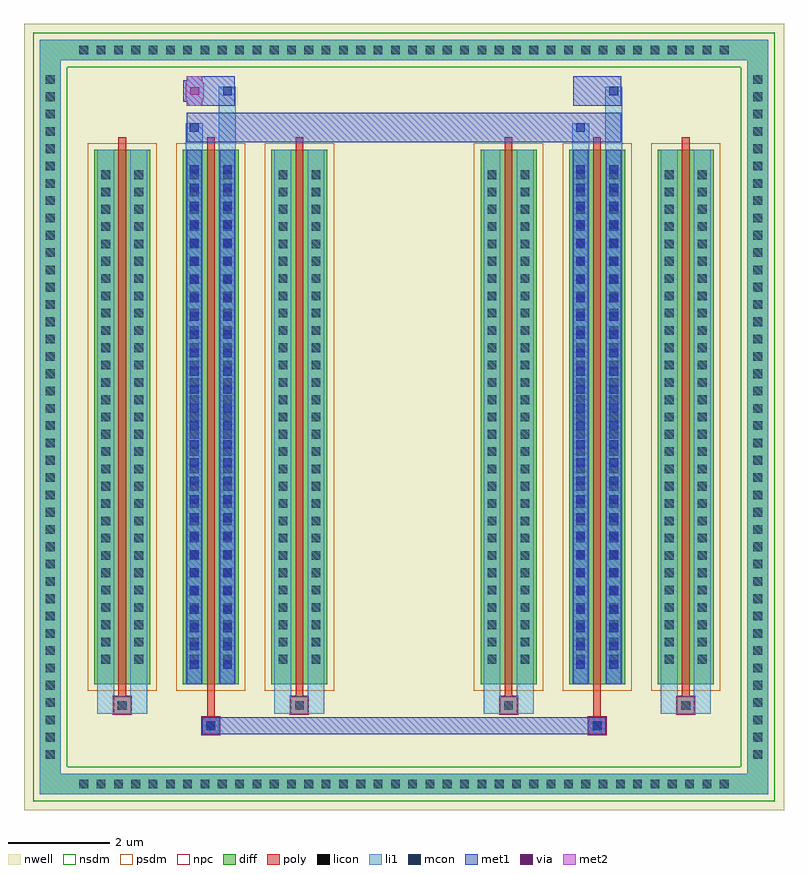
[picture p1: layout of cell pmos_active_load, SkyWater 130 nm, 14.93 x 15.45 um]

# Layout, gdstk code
import gdstk
lib = gdstk.Library(unit=1e-6, precision=5e-09)
def R(c, l, rs):  # rectangles x0, y0, x1, y1
    for r in rs: c.add(gdstk.rectangle(r[:2], r[2:], *l))
def A(c, l, x, y, w, h, nx, ny, dx, dy):  # array of equal rectangles
    R(c, l, [(x+i*dx, y+j*dy, x+i*dx+w, y+j*dy+h) for i in range(nx) for j in range(ny)])
def P(c, l, *ps):  # polygons
    for p in ps: c.add(gdstk.Polygon(p, *l))
nwell = (64, 20)
diff = (65, 20)
poly = (66, 20)
licon = (66, 44)
li1 = (67, 20)
mcon = (67, 44)
met1 = (68, 20)
via = (68, 44)
met2 = (69, 20)
nsdm = (93, 44)
psdm = (94, 20)
npc = (95, 20)

multiplier_b353b9ed = lib.new_cell('multiplier_b353b9ed')
A(multiplier_b353b9ed, diff, -2.29, -5.25, 1.1, 10.5, 3, 1, 1.74, 0)
A(multiplier_b353b9ed, poly, -1.815, -5.5, 0.15, 11, 3, 1, 1.74, 0)
R(multiplier_b353b9ed, poly, [(-0.165,-6.23,0.165,-5.9), (-0.165,-6.23,0.165,-5.9), (-0.075,-5.9,0.075,-5.5), (-1.905,-5.83,-1.575,-5.5), (-1.905,-5.83,-1.575,-5.5), (1.575,-5.83,1.905,-5.5), (1.575,-5.83,1.905,-5.5)])
A(multiplier_b353b9ed, licon, -2.15, -4.845, 0.17, 0.17, 1, 29, 0, 0.34)
A(multiplier_b353b9ed, licon, -1.5, -4.845, 0.17, 0.17, 1, 29, 0, 0.34)
A(multiplier_b353b9ed, licon, -0.41, -4.845, 0.17, 0.17, 1, 29, 0, 0.34)
A(multiplier_b353b9ed, licon, 0.24, -4.845, 0.17, 0.17, 1, 29, 0, 0.34)
A(multiplier_b353b9ed, licon, 1.33, -4.845, 0.17, 0.17, 1, 29, 0, 0.34)
A(multiplier_b353b9ed, licon, 1.98, -4.845, 0.17, 0.17, 1, 29, 0, 0.34)
R(multiplier_b353b9ed, licon, [(-0.085,-6.15,0.085,-5.98), (-1.825,-5.75,-1.655,-5.58), (1.655,-5.75,1.825,-5.58)])
A(multiplier_b353b9ed, li1, -0.41, -4.945, 0.17, 0.17, 1, 28, 0, 0.36)
A(multiplier_b353b9ed, li1, 0.24, -4.945, 0.17, 0.17, 1, 28, 0, 0.36)
A(multiplier_b353b9ed, li1, -2.23, -4.925, 0.33, 0.33, 1, 29, 0, 0.34)
A(multiplier_b353b9ed, li1, -1.58, -4.925, 0.33, 0.33, 1, 29, 0, 0.34)
A(multiplier_b353b9ed, li1, -0.49, -4.925, 0.33, 0.33, 1, 29, 0, 0.34)
A(multiplier_b353b9ed, li1, 0.16, -4.925, 0.33, 0.33, 1, 29, 0, 0.34)
A(multiplier_b353b9ed, li1, 1.25, -4.925, 0.33, 0.33, 1, 29, 0, 0.34)
A(multiplier_b353b9ed, li1, 1.9, -4.925, 0.33, 0.33, 1, 29, 0, 0.34)
R(multiplier_b353b9ed, li1, [(-0.165,-6.23,0.165,-5.9), (-2.23,-5.83,-1.905,-5.5), (-2.23,-5.83,-1.9,-5.25), (-1.905,-5.83,-1.575,-5.5), (-1.58,-5.83,-1.25,-5.25), (-1.575,-5.83,-1.25,-5.5), (1.25,-5.83,1.575,-5.5), (1.25,-5.83,1.58,-5.25), (1.575,-5.83,1.905,-5.5), (1.9,-5.83,2.23,-5.25), (1.905,-5.83,2.23,-5.5), (-2.23,-5.25,-1.9,5.25), (-1.58,-5.25,-1.25,5.25), (-0.49,-5.25,-0.16,5.25), (0.16,-5.25,0.49,5.25), (1.25,-5.25,1.58,5.25), (1.9,-5.25,2.23,5.25), (-0.41,-4.945,-0.24,4.945), (0.24,-4.945,0.41,4.945), (-0.49,5.25,-0.16,5.77), (0.16,5.25,0.49,6.49), (-0.41,5.6,-0.24,5.77), (0.24,6.32,0.41,6.49)])
A(multiplier_b353b9ed, mcon, -0.41, -4.945, 0.17, 0.17, 1, 28, 0, 0.36)
A(multiplier_b353b9ed, mcon, 0.24, -4.945, 0.17, 0.17, 1, 28, 0, 0.36)
R(multiplier_b353b9ed, mcon, [(-0.085,-6.15,0.085,-5.98), (-0.41,5.6,-0.24,5.77), (0.24,6.32,0.41,6.49)])
A(multiplier_b353b9ed, met1, -0.47, -5.005, 0.29, 0.29, 1, 28, 0, 0.36)
A(multiplier_b353b9ed, met1, 0.18, -5.005, 0.29, 0.29, 1, 28, 0, 0.36)
R(multiplier_b353b9ed, met1, [(-0.165,-6.23,0.165,-5.9), (-0.145,-6.21,0.145,-5.92), (-0.47,-5.25,-0.18,5.25), (0.18,-5.25,0.47,5.25), (-0.47,5.395,0.47,5.975), (-0.47,5.54,-0.18,5.83), (-0.47,6.115,0.47,6.695), (0.18,6.26,0.47,6.55)])
A(multiplier_b353b9ed, psdm, -2.42, -5.38, 1.36, 10.76, 3, 1, 1.74, 0)
R(multiplier_b353b9ed, npc, [(-0.185,-6.25,0.185,-5.88), (-1.925,-5.85,-1.555,-5.48), (1.555,-5.85,1.925,-5.48)])

multiplier_b353b9ed_1 = lib.new_cell('multiplier_b353b9ed$1')
A(multiplier_b353b9ed_1, diff, -2.29, -5.25, 1.1, 10.5, 3, 1, 1.74, 0)
A(multiplier_b353b9ed_1, poly, -1.815, -5.5, 0.15, 11, 3, 1, 1.74, 0)
R(multiplier_b353b9ed_1, poly, [(-0.165,-6.23,0.165,-5.9), (-0.165,-6.23,0.165,-5.9), (-0.075,-5.9,0.075,-5.5), (-1.905,-5.83,-1.575,-5.5), (-1.905,-5.83,-1.575,-5.5), (1.575,-5.83,1.905,-5.5), (1.575,-5.83,1.905,-5.5)])
A(multiplier_b353b9ed_1, licon, -2.15, -4.845, 0.17, 0.17, 1, 29, 0, 0.34)
A(multiplier_b353b9ed_1, licon, -1.5, -4.845, 0.17, 0.17, 1, 29, 0, 0.34)
A(multiplier_b353b9ed_1, licon, -0.41, -4.845, 0.17, 0.17, 1, 29, 0, 0.34)
A(multiplier_b353b9ed_1, licon, 0.24, -4.845, 0.17, 0.17, 1, 29, 0, 0.34)
A(multiplier_b353b9ed_1, licon, 1.33, -4.845, 0.17, 0.17, 1, 29, 0, 0.34)
A(multiplier_b353b9ed_1, licon, 1.98, -4.845, 0.17, 0.17, 1, 29, 0, 0.34)
R(multiplier_b353b9ed_1, licon, [(-0.085,-6.15,0.085,-5.98), (-1.825,-5.75,-1.655,-5.58), (1.655,-5.75,1.825,-5.58)])
A(multiplier_b353b9ed_1, li1, -0.41, -4.945, 0.17, 0.17, 1, 28, 0, 0.36)
A(multiplier_b353b9ed_1, li1, 0.24, -4.945, 0.17, 0.17, 1, 28, 0, 0.36)
A(multiplier_b353b9ed_1, li1, -2.23, -4.925, 0.33, 0.33, 1, 29, 0, 0.34)
A(multiplier_b353b9ed_1, li1, -1.58, -4.925, 0.33, 0.33, 1, 29, 0, 0.34)
A(multiplier_b353b9ed_1, li1, -0.49, -4.925, 0.33, 0.33, 1, 29, 0, 0.34)
A(multiplier_b353b9ed_1, li1, 0.16, -4.925, 0.33, 0.33, 1, 29, 0, 0.34)
A(multiplier_b353b9ed_1, li1, 1.25, -4.925, 0.33, 0.33, 1, 29, 0, 0.34)
A(multiplier_b353b9ed_1, li1, 1.9, -4.925, 0.33, 0.33, 1, 29, 0, 0.34)
R(multiplier_b353b9ed_1, li1, [(-0.165,-6.23,0.165,-5.9), (-2.23,-5.83,-1.905,-5.5), (-2.23,-5.83,-1.9,-5.25), (-1.905,-5.83,-1.575,-5.5), (-1.58,-5.83,-1.25,-5.25), (-1.575,-5.83,-1.25,-5.5), (1.25,-5.83,1.575,-5.5), (1.25,-5.83,1.58,-5.25), (1.575,-5.83,1.905,-5.5), (1.9,-5.83,2.23,-5.25), (1.905,-5.83,2.23,-5.5), (-2.23,-5.25,-1.9,5.25), (-1.58,-5.25,-1.25,5.25), (-0.49,-5.25,-0.16,5.25), (0.16,-5.25,0.49,5.25), (1.25,-5.25,1.58,5.25), (1.9,-5.25,2.23,5.25), (-0.41,-4.945,-0.24,4.945), (0.24,-4.945,0.41,4.945), (-0.49,5.25,-0.16,5.77), (0.16,5.25,0.49,6.49), (-0.41,5.6,-0.24,5.77), (0.24,6.32,0.41,6.49)])
A(multiplier_b353b9ed_1, mcon, -0.41, -4.945, 0.17, 0.17, 1, 28, 0, 0.36)
A(multiplier_b353b9ed_1, mcon, 0.24, -4.945, 0.17, 0.17, 1, 28, 0, 0.36)
R(multiplier_b353b9ed_1, mcon, [(-0.085,-6.15,0.085,-5.98), (-0.41,5.6,-0.24,5.77), (0.24,6.32,0.41,6.49)])
A(multiplier_b353b9ed_1, met1, -0.47, -5.005, 0.29, 0.29, 1, 28, 0, 0.36)
A(multiplier_b353b9ed_1, met1, 0.18, -5.005, 0.29, 0.29, 1, 28, 0, 0.36)
R(multiplier_b353b9ed_1, met1, [(-0.165,-6.23,0.165,-5.9), (-0.145,-6.21,0.145,-5.92), (-0.47,-5.25,-0.18,5.25), (0.18,-5.25,0.47,5.25), (-0.47,5.395,0.47,5.975), (-0.47,5.54,-0.18,5.83), (-0.47,6.115,0.47,6.695), (0.18,6.26,0.47,6.55)])
A(multiplier_b353b9ed_1, psdm, -2.42, -5.38, 1.36, 10.76, 3, 1, 1.74, 0)
R(multiplier_b353b9ed_1, npc, [(-0.185,-6.25,0.185,-5.88), (-1.925,-5.85,-1.555,-5.48), (1.555,-5.85,1.925,-5.48)])

straight_route_3f9e4019 = lib.new_cell('straight_route_3f9e4019')
R(straight_route_3f9e4019, met1, [(-3.325,5.395,3.325,5.975)])

straight_route_c25e2fa4 = lib.new_cell('straight_route_c25e2fa4')
R(straight_route_c25e2fa4, met1, [(-3.63,-6.23,3.63,-5.9)])

straight_route_06f4c159 = lib.new_cell('straight_route_06f4c159')
R(straight_route_06f4c159, met1, [(-4.34,6.19,-3.91,6.62), (-4.315,6.19,-3.885,6.62)])
R(straight_route_06f4c159, via, [(-4.2,6.33,-4.05,6.48), (-4.175,6.33,-4.025,6.48)])
R(straight_route_06f4c159, met2, [(-4.265,6.115,-3.96,6.695), (-4.29,6.24,-3.96,6.57), (-4.265,6.24,-3.935,6.57)])

unnamed_2c103f57_1 = lib.new_cell('Unnamed_2c103f57$1')
A(unnamed_2c103f57_1, diff, -6.495, -7.415, 0.41, 0.41, 38, 2, 0.34, 14.42)
A(unnamed_2c103f57_1, diff, -7.155, -6.835, 0.41, 0.41, 1, 40, 0, 0.34)
A(unnamed_2c103f57_1, diff, 6.745, -6.835, 0.41, 0.41, 1, 40, 0, 0.34)
R(unnamed_2c103f57_1, diff, [(-6.495,-7.415,6.495,-7.005), (-7.155,-6.835,-6.745,6.835), (6.745,-6.835,7.155,6.835), (-6.495,7.005,6.495,7.415)])
P(unnamed_2c103f57_1, diff, [(7.155,7.415),(-7.155,7.415),(-7.155,-7.005),(-6.745,-7.005),(-6.745,7.005),(6.745,7.005),(6.745,-7.005),(-6.745,-7.005),(-7.155,-7.005),(-7.155,-7.415),(7.155,-7.415)])
A(unnamed_2c103f57_1, licon, -6.375, -7.295, 0.17, 0.17, 38, 2, 0.34, 14.42)
A(unnamed_2c103f57_1, licon, -7.035, -6.715, 0.17, 0.17, 1, 40, 0, 0.34)
A(unnamed_2c103f57_1, licon, 6.865, -6.715, 0.17, 0.17, 1, 40, 0, 0.34)
A(unnamed_2c103f57_1, li1, -6.455, -7.375, 0.33, 0.33, 38, 2, 0.34, 14.42)
A(unnamed_2c103f57_1, li1, -7.115, -6.795, 0.33, 0.33, 1, 40, 0, 0.34)
A(unnamed_2c103f57_1, li1, 6.785, -6.795, 0.33, 0.33, 1, 40, 0, 0.34)
R(unnamed_2c103f57_1, li1, [(-7.155,-7.415,-6.745,-7.005), (-7.155,-7.415,-6.745,-7.005), (-6.745,-7.415,6.745,-7.005), (6.745,-7.415,7.155,-7.005), (6.745,-7.415,7.155,-7.005), (-7.155,-7.005,-6.745,7.005), (6.745,-7.005,7.155,7.005), (-7.155,7.005,-6.745,7.415), (-7.155,7.005,-6.745,7.415), (-6.745,7.005,6.745,7.415), (6.745,7.005,7.155,7.415), (6.745,7.005,7.155,7.415)])
P(unnamed_2c103f57_1, nsdm, [(7.285,7.545),(-7.285,7.545),(-7.285,-6.875),(-6.615,-6.875),(-6.615,6.875),(6.615,6.875),(6.615,-6.875),(-6.615,-6.875),(-7.285,-6.875),(-7.285,-7.545),(7.285,-7.545)])

compass_9b7a7f39 = lib.new_cell('compass_9b7a7f39')
R(compass_9b7a7f39, nwell, [(-7.465,-7.725,7.465,7.725)])

rectangle_e6adcbbe = lib.new_cell('rectangle_e6adcbbe')
rectangle_e6adcbbe.add(gdstk.Reference(compass_9b7a7f39, (0,0)))

pmos_active_load = lib.new_cell('pmos_active_load')
pmos_active_load.add(gdstk.Reference(multiplier_b353b9ed, (-3.795,0)))
pmos_active_load.add(gdstk.Reference(multiplier_b353b9ed_1, (3.795,0)))
pmos_active_load.add(gdstk.Reference(straight_route_3f9e4019, (0,0)))
pmos_active_load.add(gdstk.Reference(straight_route_c25e2fa4, (0,0)))
pmos_active_load.add(gdstk.Reference(straight_route_06f4c159, (0,0)))
pmos_active_load.add(gdstk.Reference(unnamed_2c103f57_1, (0,0)))
pmos_active_load.add(gdstk.Reference(rectangle_e6adcbbe, (0,0)))

lib.write_gds('pmos_active_load.gds')
